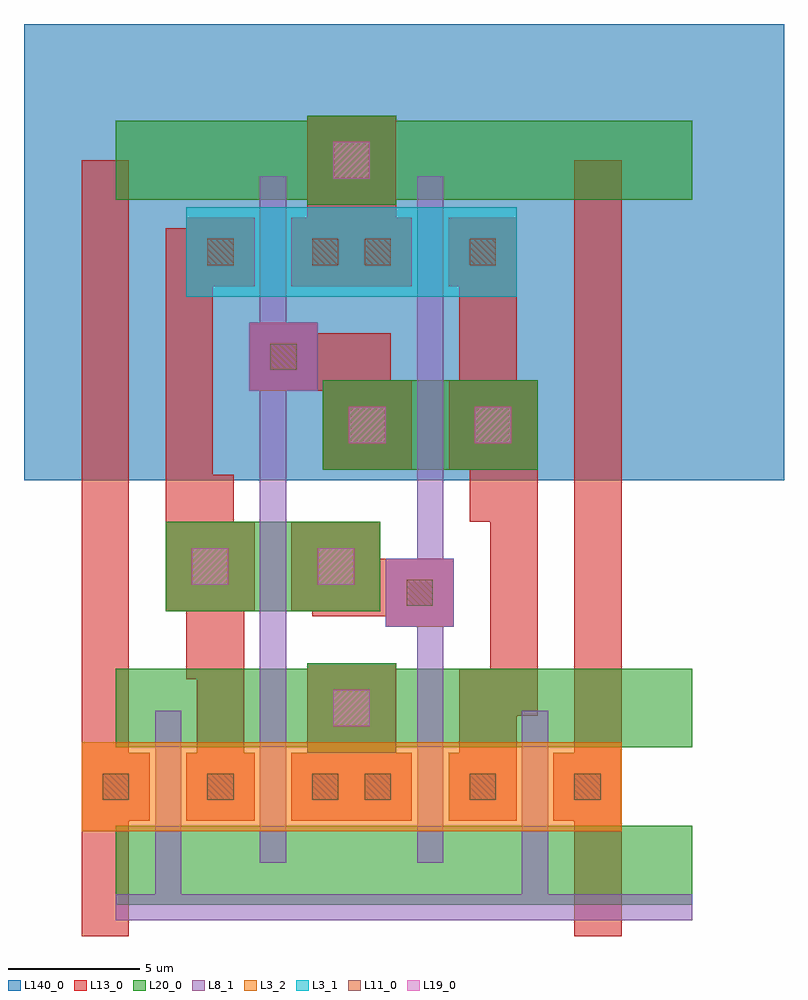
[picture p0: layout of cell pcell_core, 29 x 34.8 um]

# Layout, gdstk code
import gdstk
lib = gdstk.Library(unit=1e-6, precision=1e-09)
def R(c, l, rs):  # rectangles x0, y0, x1, y1
    for r in rs: c.add(gdstk.rectangle(r[:2], r[2:], *l))
L3_1 = (3, 1)
L3_2 = (3, 2)
L8_1 = (8, 1)
L11_0 = (11, 0)
L13_0 = (13, 0)
L19_0 = (19, 0)
L20_0 = (20, 0)
L140_0 = (140, 0)

fet_n_4 = lib.new_cell('fet_n$4')
R(fet_n_4, L3_2, [(-3.3,-1.7,3.3,1.7)])
R(fet_n_4, L11_0, [(-2.5,-0.5,-1.5,0.5), (1.5,-0.5,2.5,0.5)])
R(fet_n_4, L13_0, [(-3.3,-1.3,-0.7,1.3), (0.7,-1.3,3.3,1.3)])
fet_n_4.add(gdstk.FlexPath([(0,-2.9),(0,2.9)], 1, ends="flush", simple_path=True, layer=8, datatype=1))  # L8_1

fet_p_7 = lib.new_cell('fet_p$7')
R(fet_p_7, L3_1, [(-3.3,-1.7,3.3,1.7)])
R(fet_p_7, L11_0, [(-2.5,-0.5,-1.5,0.5), (1.5,-0.5,2.5,0.5)])
R(fet_p_7, L13_0, [(-3.3,-1.3,-0.7,1.3), (0.7,-1.3,3.3,1.3)])
fet_p_7.add(gdstk.FlexPath([(0,-2.9),(0,2.9)], 1, ends="flush", simple_path=True, layer=8, datatype=1))  # L8_1

via_1_1_1 = lib.new_cell('via_1$1$1')
R(via_1_1_1, L13_0, [(-1.7,-1.7,1.7,1.7)])
R(via_1_1_1, L19_0, [(-0.7,-0.7,0.7,0.7)])
R(via_1_1_1, L20_0, [(-1.7,-1.7,1.7,1.7)])

cont_g_12 = lib.new_cell('cont_g$12')
R(cont_g_12, L8_1, [(-1.3,-1.3,1.3,1.3)])
R(cont_g_12, L11_0, [(-0.5,-0.5,0.5,0.5)])
R(cont_g_12, L13_0, [(-1.3,-1.3,1.3,1.3)])

pcell_core = lib.new_cell('pcell_core')
R(pcell_core, L8_1, [(0,-5.1,22,-4.1), (1.5,-5.1,2.5,-2.4), (15.5,-5.1,16.5,-2.4), (5.5,2.4,6.5,18), (11.5,2.4,12.5,18), (11.1,6.9,12.5,7.9), (5.5,15.9,6.9,16.9)])
R(pcell_core, L13_0, [(-1.3,-5.7,0.5,23.9), (17.5,-5.7,19.3,23.9), (3.1,-0.9,4.9,5.9), (8.1,-0.9,9.9,3.9), (13.1,-0.9,14.9,4.5), (14.9,1.3,15.3,2.7), (13.1,2.7,16.1,4.5), (14.3,2.7,16.1,11.9), (2.7,4.1,4.9,5.9), (2.7,4.1,4.5,11.9), (4.5,5.9,4.9,6.7), (7.5,6.5,9.3,9.3), (7.5,6.5,12.5,8.3), (10.1,8.3,10.3,8.7), (1.9,10.1,4.5,11.9), (1.9,10.1,3.7,21.3), (13.5,10.1,16.1,11.9), (13.5,10.1,15.3,18.7), (15.3,11.9,16.1,12.1), (8.7,12.9,10.5,17.3), (7.7,15.1,7.9,15.5), (5.5,15.5,10.5,17.3), (13.1,15.5,13.5,16.9), (13.1,16.9,15.3,18.7), (13.1,16.9,14.9,21.3), (14.9,18.7,15.3,19.1), (1.9,19.5,4.9,21.3), (8.1,19.5,9.9,24.8), (7.3,21.7,8.1,22.2), (9.9,21.7,10.7,22.2)])
R(pcell_core, L20_0, [(0,-4.5,22,-1.5), (0,1.5,22,4.5), (1.9,6.7,10.1,10.1), (7.9,12.1,16.1,15.5), (0,22.4,22,25.4)])
R(pcell_core, L140_0, [(-3.5,11.7,25.5,29.1)])
pcell_core.add(gdstk.Reference(fet_n_4, (2,0)))
pcell_core.add(gdstk.Reference(fet_n_4, (6,0)))
pcell_core.add(gdstk.Reference(fet_n_4, (12,0)))
pcell_core.add(gdstk.Reference(fet_n_4, (16,0)))
pcell_core.add(gdstk.Reference(fet_p_7, (6,20.4)))
pcell_core.add(gdstk.Reference(fet_p_7, (12,20.4)))
pcell_core.add(gdstk.Reference(via_1_1_1, (9,3)))
pcell_core.add(gdstk.Reference(via_1_1_1, (9,23.9)))
pcell_core.add(gdstk.Reference(via_1_1_1, (3.6,8.4)))
pcell_core.add(gdstk.Reference(via_1_1_1, (8.4,8.4)))
pcell_core.add(gdstk.Reference(via_1_1_1, (14.4,13.8)))
pcell_core.add(gdstk.Reference(via_1_1_1, (9.6,13.8)))
pcell_core.add(gdstk.Reference(cont_g_12, (11.6,7.4)))
pcell_core.add(gdstk.Reference(cont_g_12, (6.4,16.4)))

lib.write_gds('pcell_core.gds')
